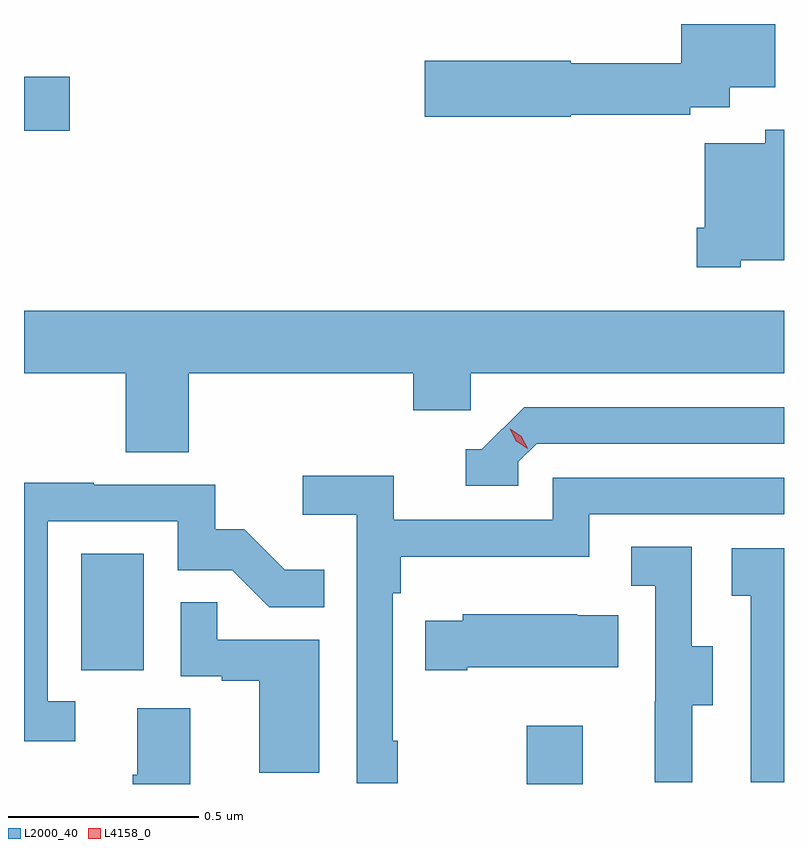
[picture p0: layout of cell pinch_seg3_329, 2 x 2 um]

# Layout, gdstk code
import gdstk
lib = gdstk.Library(unit=1e-6, precision=1e-09)
def R(c, l, rs):  # rectangles x0, y0, x1, y1
    for r in rs: c.add(gdstk.rectangle(r[:2], r[2:], *l))
def P(c, l, *ps):  # polygons
    for p in ps: c.add(gdstk.Polygon(p, *l))
L2000_40 = (2000, 40)
L4158_0 = (4158, 0)

pinch_seg3_329 = lib.new_cell('pinch_seg3_329')
R(pinch_seg3_329, L2000_40, [(999.88,707.827,1000.027,707.98), (998.708,708.126,998.872,708.433), (998.557,709.546,998.677,709.688)])
P(pinch_seg3_329, L2000_40, [(999.996,709.588),(1000.31,709.588),(1000.31,709.608),(1000.414,709.608),(1000.414,709.661),(1000.534,709.661),(1000.534,709.827),(1000.286,709.827),(1000.286,709.724),(999.996,709.724),(999.996,709.73),(999.612,709.73),(999.612,709.583),(999.996,709.583)],
  [(1000.443,709.205),(1000.557,709.205),(1000.557,709.549),(1000.508,709.549),(1000.508,709.513),(1000.349,709.513),(1000.349,709.291),(1000.328,709.291),(1000.328,709.187),(1000.443,709.187)],
  [(998.99,708.908),(999.581,708.908),(999.581,708.81),(999.732,708.81),(999.732,708.908),(1000.557,708.908),(1000.557,709.072),(998.557,709.072),(998.557,708.908),(998.825,708.908),(998.825,708.7),(998.99,708.7)],
  [(999.858,708.675),(999.906,708.723),(1000.557,708.723),(1000.557,708.819),(999.873,708.819),(999.762,708.708),(999.719,708.708),(999.719,708.612),(999.858,708.612)],
  [(999.541,707.941),(999.528,707.941),(999.528,708.329),(999.548,708.329),(999.548,708.425),(1000.044,708.425),(1000.044,708.537),(1000.557,708.537),(1000.557,708.633),(999.948,708.633),(999.948,708.522),(999.53,708.522),(999.53,708.638),(999.291,708.638),(999.291,708.536),(999.432,708.536),(999.432,707.829),(999.541,707.829)],
  [(998.692,708.045),(998.619,708.045),(998.619,708.519),(998.961,708.519),(998.961,708.39),(999.105,708.39),(999.203,708.292),(999.347,708.292),(999.347,708.391),(999.243,708.391),(999.136,708.498),(999.06,708.498),(999.06,708.615),(998.741,708.615),(998.741,708.62),(998.557,708.62),(998.557,707.94),(998.692,707.94)],
  [(1000.315,708.034),(1000.369,708.034),(1000.369,708.189),(1000.314,708.189),(1000.314,708.452),(1000.155,708.452),(1000.155,708.349),(1000.218,708.349),(1000.218,708.045),(1000.217,708.045),(1000.217,707.832),(1000.315,707.832)],
  [(1000.557,708.447),(1000.419,708.447),(1000.419,708.323),(1000.47,708.323),(1000.47,707.832),(1000.557,707.832)],
  [(999.334,708.207),(999.065,708.207),(999.065,708.305),(998.97,708.305),(998.97,708.111),(999.077,708.111),(999.077,708.099),(999.176,708.099),(999.176,707.856),(999.334,707.856)],
  [(999.724,708.134),(1000.121,708.134),(1000.121,708.271),(1000.013,708.271),(1000.013,708.274),(999.711,708.274),(999.711,708.256),(999.613,708.256),(999.613,708.127),(999.724,708.127)],
  [(998.995,708.026),(998.855,708.026),(998.855,707.852),(998.843,707.852),(998.843,707.827),(998.995,707.827)])
P(pinch_seg3_329, L4158_0, [(999.882,708.709),(999.852,708.729),(999.835,708.762),(999.835,708.762),(999.836,708.762),(999.866,708.742),(999.883,708.71),(999.883,708.709)])

lib.write_gds('pinch_seg3_329.gds')
